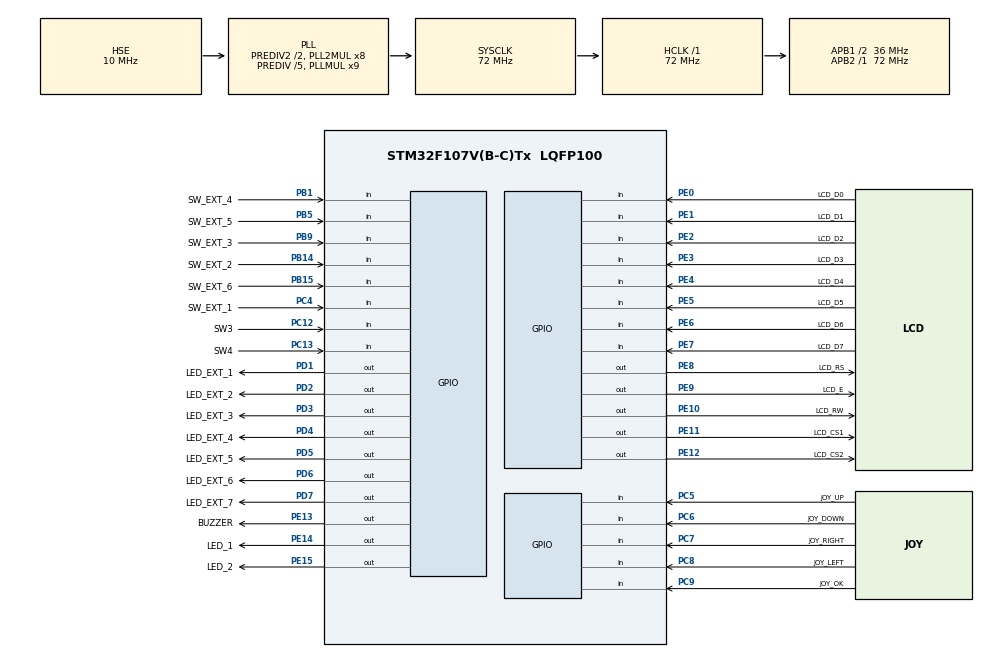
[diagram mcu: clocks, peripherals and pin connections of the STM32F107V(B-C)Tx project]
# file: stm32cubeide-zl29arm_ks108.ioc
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Mcu.Family=STM32F1
Mcu.Name=STM32F107V(B-C)Tx
Mcu.Package=LQFP100
NVIC.PriorityGroup=NVIC_PRIORITYGROUP_4
NVIC.TIM7_IRQn=true\:0\:0\:false\:false\:true\:true\:true\:true
OSC_IN.Mode=HSE-External-Oscillator
OSC_IN.Signal=RCC_OSC_IN
OSC_OUT.Mode=HSE-External-Oscillator
OSC_OUT.Signal=RCC_OSC_OUT
PA13.Mode=Trace_Asynchronous_SW
PA13.Signal=SYS_JTMS-SWDIO
PA14.Mode=Trace_Asynchronous_SW
PA14.Signal=SYS_JTCK-SWCLK
PB1.GPIO_Label=SW_EXT_4
PB1.Signal=GPIO_Input
PB14.GPIO_Label=SW_EXT_2
PB14.Signal=GPIO_Input
PB15.GPIO_Label=SW_EXT_6
PB15.Signal=GPIO_Input
PB3.Mode=Trace_Asynchronous_SW
PB3.Signal=SYS_TRACESWO
PB5.GPIO_Label=SW_EXT_5
PB5.Signal=GPIO_Input
PB9.GPIO_Label=SW_EXT_3
PB9.Signal=GPIO_Input
PC12.GPIO_Label=SW3
PC12.Signal=GPIO_Input
PC13-TAMPER-RTC.GPIO_Label=SW4
PC13-TAMPER-RTC.Signal=GPIO_Input
PC4.GPIO_Label=SW_EXT_1
PC4.Signal=GPIO_Input
PC5.GPIO_Label=JOY_UP
PC5.Signal=GPIO_Input
PC6.GPIO_Label=JOY_DOWN
PC6.Signal=GPIO_Input
PC7.GPIO_Label=JOY_RIGHT
PC7.Signal=GPIO_Input
PC8.GPIO_Label=JOY_LEFT
PC8.Signal=GPIO_Input
PC9.GPIO_Label=JOY_OK
PC9.Signal=GPIO_Input
PD1.GPIO_Label=LED_EXT_1
PD1.Signal=GPIO_Output
PD2.GPIO_Label=LED_EXT_2
PD2.Signal=GPIO_Output
PD3.GPIO_Label=LED_EXT_3
PD3.Signal=GPIO_Output
PD4.GPIO_Label=LED_EXT_4
PD4.Signal=GPIO_Output
PD5.GPIO_Label=LED_EXT_5
PD5.Signal=GPIO_Output
PD6.GPIO_Label=LED_EXT_6
PD6.Signal=GPIO_Output
PD7.GPIO_Label=LED_EXT_7
PD7.Signal=GPIO_Output
PE0.GPIO_Label=LCD_D0
PE0.Signal=GPIO_Input
PE1.GPIO_Label=LCD_D1
PE1.GPIO_Mode=GPIO_MODE_INPUT
PE1.GPIO_PuPd=GPIO_NOPULL
PE1.Signal=GPIO_Input
PE10.GPIO_Label=LCD_RW
PE10.Signal=GPIO_Output
PE11.GPIO_Label=LCD_CS1
PE11.Signal=GPIO_Output
PE12.GPIO_Label=LCD_CS2
PE12.Signal=GPIO_Output
PE13.GPIO_Label=BUZZER
PE13.GPIO_ModeDefaultOutputPP=GPIO_MODE_OUTPUT_PP
PE13.Signal=GPIO_Output
PE14.GPIO_Label=LED_1
PE14.GPIO_ModeDefaultOutputPP=GPIO_MODE_OUTPUT_OD
PE14.PinState=GPIO_PIN_SET
PE14.Signal=GPIO_Output
PE15.GPIO_Label=LED_2
PE15.GPIO_ModeDefaultOutputPP=GPIO_MODE_OUTPUT_OD
PE15.PinState=GPIO_PIN_SET
PE15.Signal=GPIO_Output
PE2.GPIO_Label=LCD_D2
PE2.GPIO_Mode=GPIO_MODE_INPUT
PE2.GPIO_PuPd=GPIO_NOPULL
PE2.Signal=GPIO_Input
PE3.GPIO_Label=LCD_D3
PE3.GPIO_Mode=GPIO_MODE_INPUT
PE3.GPIO_PuPd=GPIO_NOPULL
PE3.Signal=GPIO_Input
PE4.GPIO_Label=LCD_D4
PE4.GPIO_Mode=GPIO_MODE_INPUT
PE4.GPIO_PuPd=GPIO_NOPULL
PE4.Signal=GPIO_Input
PE5.GPIO_Label=LCD_D5
PE5.GPIO_Mode=GPIO_MODE_INPUT
PE5.GPIO_PuPd=GPIO_NOPULL
PE5.Signal=GPIO_Input
PE6.GPIO_Label=LCD_D6
PE6.GPIO_Mode=GPIO_MODE_INPUT
PE6.GPIO_PuPd=GPIO_NOPULL
PE6.Signal=GPIO_Input
PE7.GPIO_Label=LCD_D7
PE7.GPIO_Mode=GPIO_MODE_INPUT
PE7.GPIO_PuPd=GPIO_NOPULL
PE7.Signal=GPIO_Input
PE8.GPIO_Label=LCD_RS
PE8.Signal=GPIO_Output
PE9.GPIO_Label=LCD_E
PE9.Signal=GPIO_Output
ProjectManager.HeapSize=0x200
ProjectManager.StackSize=0x400
ProjectManager.TargetToolchain=STM32CubeIDE
RCC.AHBFreq_Value=72000000
RCC.APB1CLKDivider=RCC_HCLK_DIV2
RCC.APB1Freq_Value=36000000
RCC.APB1TimFreq_Value=72000000
RCC.APB2Freq_Value=72000000
RCC.APB2TimFreq_Value=72000000
RCC.HCLKFreq_Value=72000000
RCC.HSEDivPLL=RCC_HSE_PREDIV_DIV5
RCC.HSE_VALUE=10000000
RCC.PLLMUL=RCC_PLL_MUL9
RCC.PLLSourceVirtual=RCC_PLLSOURCE_HSE
RCC.Prediv1Source=RCC_PREDIV1_SOURCE_PLL2
RCC.Prediv2=RCC_HSE_PREDIV2_DIV2
RCC.SYSCLKFreq_VALUE=72000000
RCC.SYSCLKSource=RCC_SYSCLKSOURCE_PLLCLK
RCC.USBFreq_Value=48000000
TIM7.Period=1000
TIM7.Prescaler=7200
VP_TIM7_VS_ClockSourceINT.Mode=Enable_Timer
board=zl29arm

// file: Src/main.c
/* USER CODE BEGIN Header */
/**
  ******************************************************************************
  * @file           : main.c
  * @brief          : Main program body
  ******************************************************************************
  * @attention
  *
  * <h2><center>&copy; Copyright (c) 2021 STMicroelectronics.
  * All rights reserved.</center></h2>
  *
  * This software component is licensed by ST under BSD 3-Clause license,
  * the "License"; You may not use this file except in compliance with the
  * License. You may obtain a copy of the License at:
  *                        opensource.org/licenses/BSD-3-Clause
  *
  ******************************************************************************
  */
/* USER CODE END Header */
#include "main.h"
#include "tim.h"
#include "gpio.h"

/* USER CODE BEGIN Includes */

#include <stdio.h>
#include "glcd.h"

/* USER CODE END Includes */

void SystemClock_Config(void);

/* USER CODE BEGIN 0 */

int __io_putchar(int ch)
{
	glcd_PutChar((uint8_t) ch);
	return ch;
}

/* USER CODE END 0 */

int main(void)
{

  /* MCU Configuration--------------------------------------------------------*/

  /* Reset of all peripherals, Initializes the Flash interface and the Systick. */
  HAL_Init();

  /* Configure the system clock */
  SystemClock_Config();

  /* Initialize all configured peripherals */
  MX_GPIO_Init();
  MX_TIM7_Init();
  /* USER CODE BEGIN 2 */
  glcd_Initialize();
  glcd_ClearScreen();

  glcd_GoTo(0, 0);
  glcd_PutChar('B');
  glcd_GoTo(10, 1);

  printf("Hello:) %04X\n", 1234);

  uint8_t z = 0;
  for (;;)
  {
    glcd_WriteCommand(0, GLCD_CMD_SET_LINE | (z & 0x3F));
    glcd_WriteCommand(1, GLCD_CMD_SET_LINE | (z & 0x3F));
    HAL_Delay(200);
    z++;

    HAL_GPIO_TogglePin(LED_1_GPIO_Port, LED_1_Pin);
  }

  /* USER CODE END 2 */

  /* Infinite loop */
  while (1)
  {

    /* USER CODE BEGIN 3 */
    HAL_GPIO_TogglePin(LED_1_GPIO_Port, LED_1_Pin);

    HAL_Delay(10);

    //if ((glcd_ReadStatus(0) & GLCD_STATUS_BUSY) == 0)
    //    HAL_GPIO_WritePin(LED_2_GPIO_Port, LED_2_Pin, GPIO_PIN_RESET);
    //else
    //    HAL_GPIO_WritePin(LED_2_GPIO_Port, LED_2_Pin, GPIO_PIN_SET);
  }
  /* USER CODE END 3 */
}

void SystemClock_Config(void)
{
  RCC_OscInitTypeDef RCC_OscInitStruct = {0};
  RCC_ClkInitTypeDef RCC_ClkInitStruct = {0};

  /** Initializes the RCC Oscillators according to the specified parameters
  * in the RCC_OscInitTypeDef structure.
  */
  RCC_OscInitStruct.OscillatorType = RCC_OSCILLATORTYPE_HSE;
  RCC_OscInitStruct.HSEState = RCC_HSE_ON;
  RCC_OscInitStruct.HSEPredivValue = RCC_HSE_PREDIV_DIV5;
  RCC_OscInitStruct.HSIState = RCC_HSI_ON;
  RCC_OscInitStruct.Prediv1Source = RCC_PREDIV1_SOURCE_PLL2;
  RCC_OscInitStruct.PLL.PLLState = RCC_PLL_ON;
  RCC_OscInitStruct.PLL.PLLSource = RCC_PLLSOURCE_HSE;
  RCC_OscInitStruct.PLL.PLLMUL = RCC_PLL_MUL9;
  RCC_OscInitStruct.PLL2.PLL2State = RCC_PLL2_ON;
  RCC_OscInitStruct.PLL2.PLL2MUL = RCC_PLL2_MUL8;
  RCC_OscInitStruct.PLL2.HSEPrediv2Value = RCC_HSE_PREDIV2_DIV2;
  if (HAL_RCC_OscConfig(&RCC_OscInitStruct) != HAL_OK)
  {
    Error_Handler();
  }

  /** Initializes the CPU, AHB and APB buses clocks
  */
  RCC_ClkInitStruct.ClockType = RCC_CLOCKTYPE_HCLK|RCC_CLOCKTYPE_SYSCLK
                              |RCC_CLOCKTYPE_PCLK1|RCC_CLOCKTYPE_PCLK2;
  RCC_ClkInitStruct.SYSCLKSource = RCC_SYSCLKSOURCE_PLLCLK;
  RCC_ClkInitStruct.AHBCLKDivider = RCC_SYSCLK_DIV1;
  RCC_ClkInitStruct.APB1CLKDivider = RCC_HCLK_DIV2;
  RCC_ClkInitStruct.APB2CLKDivider = RCC_HCLK_DIV1;

  if (HAL_RCC_ClockConfig(&RCC_ClkInitStruct, FLASH_LATENCY_2) != HAL_OK)
  {
    Error_Handler();
  }

  /** Configure the Systick interrupt time
  */
  __HAL_RCC_PLLI2S_ENABLE();
}

void Error_Handler(void)
{
  __disable_irq();
  while (1)
  {
  }
}
